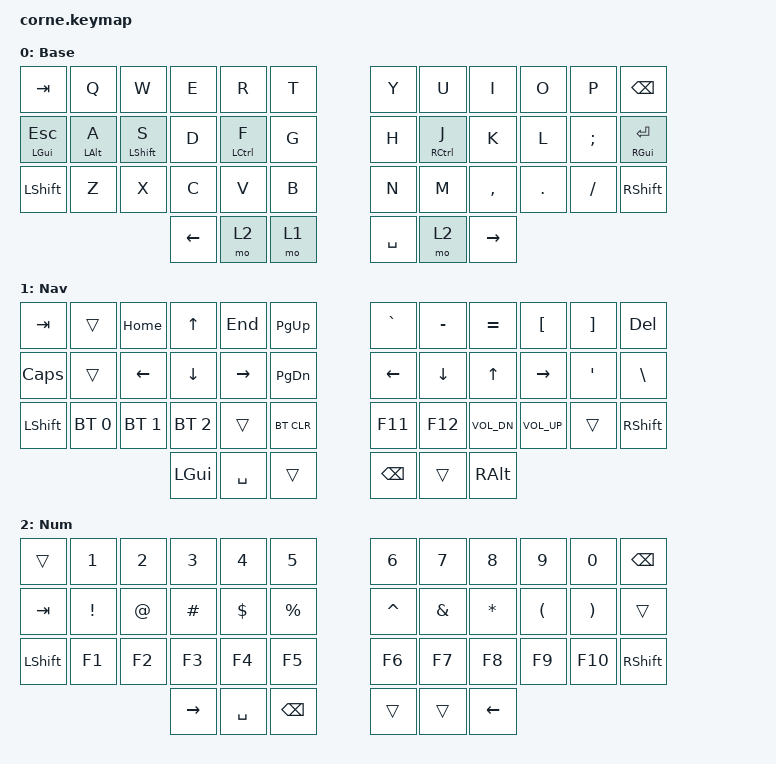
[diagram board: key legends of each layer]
/*
 * Copyright (c) 2020 The ZMK Contributors
 *
 * SPDX-License-Identifier: MIT
 */

#include <behaviors.dtsi>
#include <dt-bindings/zmk/keys.h>
#include <dt-bindings/zmk/bt.h>

/ {
        behaviors {
                hml_a: home_row_mod_left_a {
                        compatible = "zmk,behavior-hold-tap";
                        #binding-cells = <2>;
                        flavor = "balanced";
                        tapping-term-ms = <200>;
                        quick-tap-ms = <175>;
                        require-prior-idle-ms = <175>;
                        bindings = <&kp>, <&kp>;
                };

                hml_s: home_row_mod_left_s {
                        compatible = "zmk,behavior-hold-tap";
                        #binding-cells = <2>;
                        flavor = "balanced";
                        tapping-term-ms = <200>;
                        quick-tap-ms = <175>;
                        require-prior-idle-ms = <175>;
                        bindings = <&kp>, <&kp>;
                };

                hml_f: home_row_mod_left_f {
                        compatible = "zmk,behavior-hold-tap";
                        #binding-cells = <2>;
                        flavor = "balanced";
                        tapping-term-ms = <200>;
                        quick-tap-ms = <175>;
                        require-prior-idle-ms = <175>;
                        bindings = <&kp>, <&kp>;
                };

                hmr_j: home_row_mod_right_j {
                        compatible = "zmk,behavior-hold-tap";
                        #binding-cells = <2>;
                        flavor = "balanced";
                        tapping-term-ms = <200>;
                        quick-tap-ms = <175>;
                        require-prior-idle-ms = <175>;
                        bindings = <&kp>, <&kp>;
                };
        };

        keymap {
                compatible = "zmk,keymap";

                base_layer {
                        label = "Base";
// ┌─────┬─────┬─────┬─────┬─────┬─────┐   ┌─────┬─────┬─────┬─────┬─────┬─────┐
// │ TAB │  Q  │  W  │  E  │  R  │  T  │   │  Y  │  U  │  I  │  O  │  P  │BSPC │
// ├─────┼─────┼─────┼─────┼─────┼─────┤   ├─────┼─────┼─────┼─────┼─────┼─────┤
// │ ESC │  A  │  S  │  D  │  F  │  G  │   │  H  │  J  │  K  │  L  │  ;  │ENTER│
// │ GUI │ ALT │SHIFT│     │CTRL │     │   │     │CTRL │     │     │     │ GUI │
// ├─────┼─────┼─────┼─────┼─────┼─────┤   ├─────┼─────┼─────┼─────┼─────┼─────┤
// │SHIFT│  Z  │  X  │  C  │  V  │  B  │   │  N  │  M  │  ,  │  .  │  /  │SHIFT│
// └─────┴─────┴─────┼─────┼─────┼─────┤   ├─────┼─────┼─────┼─────┴─────┴─────┘
//                   │LEFT │ RSE │ LWR │   │ SPC │ RSE │RIGHT│
//                   └─────┴─────┴─────┘   └─────┴─────┴─────┘
                        bindings = <
   &kp TAB              &kp Q        &kp W        &kp E    &kp R          &kp T        &kp Y     &kp U          &kp I      &kp O    &kp P         &kp BSPC
   &mt LGUI ESC         &hml_a LALT A &hml_s LSHFT S &kp D  &hml_f LCTRL F &kp G        &kp H     &hmr_j RCTRL J &kp K      &kp L    &kp SEMI      &mt RGUI RET
   &kp LSHFT            &kp Z        &kp X        &kp C    &kp V          &kp B        &kp N     &kp M          &kp COMMA  &kp DOT  &kp FSLH      &kp RSHFT
                                                  &kp LEFT &mo 2          &mo 1        &kp SPACE &mo 2          &kp RIGHT
                        >;
                };
                nav_layer {
                        label = "Nav";
// ┌─────┬─────┬─────┬─────┬─────┬─────┐   ┌─────┬─────┬─────┬─────┬─────┬─────┐
// │ TAB │     │HOME │ UP  │ END │PGUP │   │  `  │  -  │  =  │  {  │  }  │ DEL │
// ├─────┼─────┼─────┼─────┼─────┼─────┤   ├─────┼─────┼─────┼─────┼─────┼─────┤
// │CAPS │     │LEFT │DOWN │RIGHT│PGDN │   │ LFT │ DWN │ UP  │ RGT │  '  │  \  │
// ├─────┼─────┼─────┼─────┼─────┼─────┤   ├─────┼─────┼─────┼─────┼─────┼─────┤
// │SHIFT│ BT0 │ BT1 │ BT2 │     │BTCLR│   │ F11 │ F12 │ VOL-│VOL+ │     │SHIFT│
// └─────┴─────┴─────┼─────┼─────┼─────┤   ├─────┼─────┼─────┼─────┴─────┴─────┘
//                   │ GUI │ SPC │     │   │BKSP │     │ ALT │
//                   └─────┴─────┴─────┘   └─────┴─────┴─────┘
                        bindings = <
   &kp TAB    &trans           &kp HOME         &kp UP   &kp END            &kp PG_UP   &kp GRAVE &kp MINUS    &kp EQUAL     &kp LBKT     &kp RBKT &kp DEL
   &kp CAPS   &trans           &kp LEFT         &kp DOWN &kp RIGHT          &kp PG_DN   &kp LEFT  &kp DOWN     &kp UP        &kp RIGHT    &kp SQT  &kp BSLH
   &kp LSHFT  &bt BT_SEL 0     &bt BT_SEL 1     &bt BT_SEL 2 &trans        &bt BT_CLR  &kp F11   &kp F12      &kp C_VOL_DN  &kp C_VOL_UP &trans   &kp RSHFT
                              &kp LGUI &kp SPACE &trans      &kp BSPC  &trans       &kp RALT
                        >;
                };

                num_layer {
                        label = "Num";
// ┌─────┬─────┬─────┬─────┬─────┬─────┐   ┌─────┬─────┬─────┬─────┬─────┬─────┐
// │     │  1  │  2  │  3  │  4  │  5  │   │  6  │  7  │  8  │  9  │  0  │BSPC │
// ├─────┼─────┼─────┼─────┼─────┼─────┤   ├─────┼─────┼─────┼─────┼─────┼─────┤
// │ TAB │  !  │  @  │  #  │  $  │  %  │   │  ^  │  &  │  *  │  (  │  )  │     │
// ├─────┼─────┼─────┼─────┼─────┼─────┤   ├─────┼─────┼─────┼─────┼─────┼─────┤
// │SHIFT│ F1  │ F2  │ F3  │ F4  │ F5  │   │ F6  │ F7  │ F8  │ F9  │ F10 │SHIFT│
// └─────┴─────┴─────┼─────┼─────┼─────┤   ├─────┼─────┼─────┼─────┴─────┴─────┘
//                   │RIGHT│SPACE│BKSP │   │     │     │LEFT │
//                   └─────┴─────┴─────┘   └─────┴─────┴─────┘
                        bindings = <
   &trans    &kp N1   &kp N2 &kp N3   &kp N4    &kp N5      &kp N6    &kp N7   &kp N8    &kp N9    &kp N0  &kp BSPC
   &kp TAB   &kp EXCL &kp AT &kp HASH &kp DLLR  &kp PRCNT   &kp CARET &kp AMPS &kp ASTRK &kp LPAR  &kp RPAR &trans
   &kp LSHFT &kp F1   &kp F2 &kp F3   &kp F4    &kp F5      &kp F6    &kp F7   &kp F8    &kp F9    &kp F10 &kp RSHFT
                             &kp RIGHT &kp SPACE &kp BSPC    &trans    &trans   &kp LEFT
                        >;
                };
        };
};
